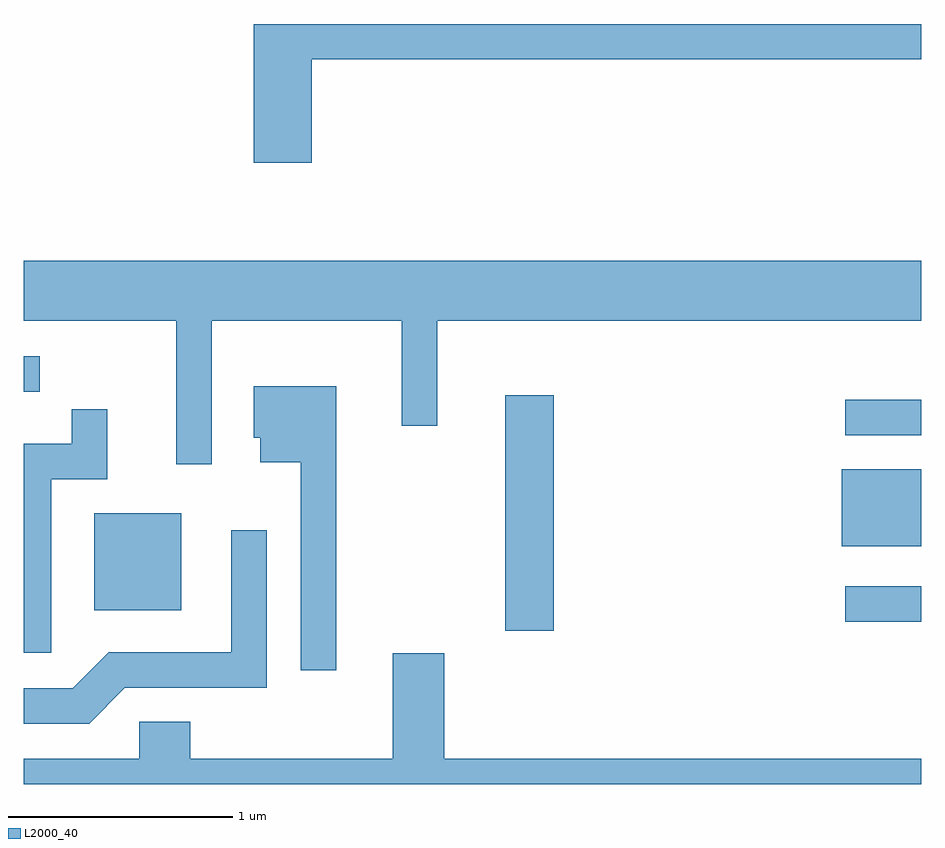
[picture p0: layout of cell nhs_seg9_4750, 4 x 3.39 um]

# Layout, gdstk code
import gdstk
lib = gdstk.Library(unit=1e-6, precision=1e-09)
def R(c, l, rs):  # rectangles x0, y0, x1, y1
    for r in rs: c.add(gdstk.rectangle(r[:2], r[2:], *l))
def P(c, l, *ps):  # polygons
    for p in ps: c.add(gdstk.Polygon(p, *l))
L2000_40 = (2000, 40)

nhs_seg9_4750 = lib.new_cell('nhs_seg9_4750')
R(nhs_seg9_4750, L2000_40, [(327.756,1977.116,327.974,1978.164), (329.273,1977.156,329.611,1977.314), (325.926,1977.206,326.314,1977.639), (329.256,1977.491,329.611,1977.834), (329.273,1977.986,329.611,1978.144), (325.611,1978.181,325.683,1978.339)])
P(nhs_seg9_4750, L2000_40, [(326.894,1979.661),(329.611,1979.661),(329.611,1979.819),(326.636,1979.819),(326.636,1979.201),(326.894,1979.201)],
  [(326.449,1978.496),(327.296,1978.496),(327.296,1978.028),(327.454,1978.028),(327.454,1978.496),(329.611,1978.496),(329.611,1978.764),(325.611,1978.764),(325.611,1978.496),(326.291,1978.496),(326.291,1977.858),(326.449,1977.858)],
  [(327.004,1978.204),(326.636,1978.204),(326.636,1977.976),(326.666,1977.976),(326.666,1977.866),(326.846,1977.866),(326.846,1976.938),(327.004,1976.938)],
  [(325.734,1977.791),(325.984,1977.791),(325.984,1978.103),(325.826,1978.103),(325.826,1977.949),(325.611,1977.949),(325.611,1977.016),(325.734,1977.016)],
  [(326.062,1976.861),(326.694,1976.861),(326.694,1977.563),(326.536,1977.563),(326.536,1977.019),(325.989,1977.019),(325.829,1976.859),(325.611,1976.859),(325.611,1976.701),(325.902,1976.701)],
  [(329.611,1976.544),(327.484,1976.544),(327.484,1977.014),(327.256,1977.014),(327.256,1976.544),(326.354,1976.544),(326.354,1976.709),(326.126,1976.709),(326.126,1976.544),(325.611,1976.544),(325.611,1976.432),(329.611,1976.432)])

lib.write_gds('nhs_seg9_4750.gds')
